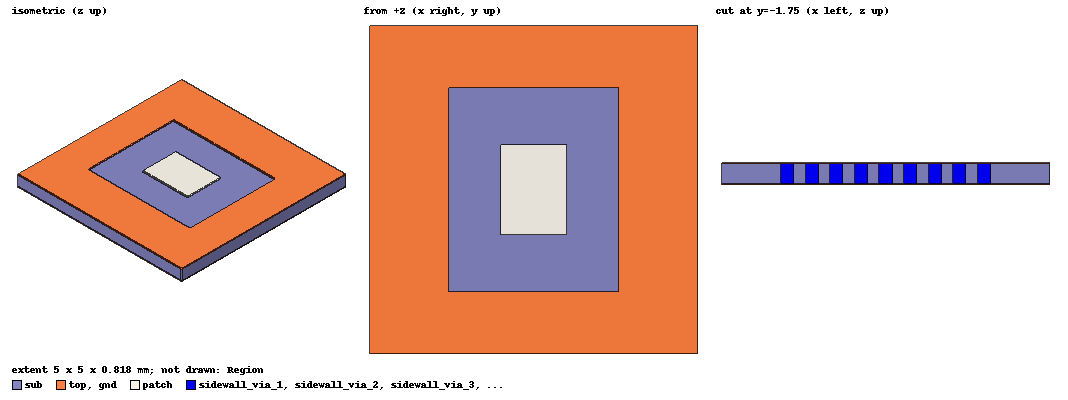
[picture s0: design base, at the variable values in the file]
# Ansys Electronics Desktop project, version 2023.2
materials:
  vacuum: permittivity=1
  Rogers RO4350 (tm): permittivity=3.66 dielectric_loss_tangent=0.004
  pec: conductivity=1e+30
  air: permittivity=1.0006 permeability=1.0000004
  copper: permeability=0.999991 conductivity=58000000

design base (HFSS, HFSS Modal Network, model units mm)
options: Allow_Material_Override
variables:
  sub_x = 5mm
  sub_y = 5mm
  sub_h = 0.3mm
  patch_x = 1.01mm
  patch_y = 1.37mm
  probe_r = 0.1mm
  probe_p = 0.25mm
  feed_l = 0.5mm
  copper_t = 0.018mm
  mm = 5mm
  sidewall_x = 3mm
  sidewall_y = 3.5mm
  via_p = 0.2mm
  via_r = 0.1mm
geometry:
  sub [Rogers RO4350 (tm)] = box(corner=(-sub_x/2, -sub_y/2, 0mm), size=(sub_x, sub_y, sub_h))
  patch [pec] = box(corner=(-patch_x/2, -patch_y/2, sub_h), size=(patch_x, patch_y, copper_t))
  gnd [pec] = box(corner=(-sub_x/2, -sub_y/2, 0mm), size=(sub_x, sub_y, -copper_t))
  probe [pec] = cylinder(axis=Z, base_centre=(probe_p, 0mm, -feed_l), radius=probe_r, height=sub_h+feed_l)
  coax_inner [air] = cylinder(axis=Z, base_centre=(probe_p, 0mm, -feed_l), radius=probe_r* 2.3, height=feed_l)
  coax_outer [pec] = cylinder(axis=Z, base_centre=(probe_p, 0mm, -feed_l), radius=probe_r* 2.35, height=feed_l)
  coax_inner_1 = coax_inner.copy()
  gnd.subtract(coax_inner_1)
  Region [air] = region(absolute_offset=2.5mm on all sides)
  coax_inner_2 = coax_inner.copy()
  coax_outer.subtract(coax_inner_2)
  probe_1 = probe.copy()
  coax_inner.subtract(probe_1)
  top [pec] = box(corner=(-sub_x/2, -sub_y/2, sub_h), size=(sub_x, sub_y, copper_t))
  sidewall = polyline(z=0mm, xy: (-sidewall_x/2, -sidewall_y/2) (-sidewall_x/2, sidewall_y/2) (sidewall_x/2, sidewall_y/2) (sidewall_x/2, -sidewall_y/2) (-sidewall_x/2, -sidewall_y/2), closed)
  top_inner = box(corner=(-sidewall_x/2+via_p, -sidewall_y/2+via_p, sub_h), size=(sidewall_x-via_p*2, sidewall_y-via_p*2, copper_t))
  top.subtract(top_inner)
  sidewall_via_1 [copper] = cylinder(axis=Z, base_centre=(-sidewall_x/2, -sidewall_y/2, 0mm), radius=via_r, height=sub_h)
  sidewall_via_2 [copper] = cylinder(axis=Z, base_centre=((sidewall_x/2)+(0.875)*((-sidewall_x/2)-(sidewall_x/2)), (-sidewall_y/2)+(0.875)*((-sidewall_y/2)-(-sidewall_y/2)), 0mm), radius=via_r, height=sub_h)
  sidewall_via_3 [copper] = cylinder(axis=Z, base_centre=((sidewall_x/2)+(0.75)*((-sidewall_x/2)-(sidewall_x/2)), (-sidewall_y/2)+(0.75)*((-sidewall_y/2)-(-sidewall_y/2)), 0mm), radius=via_r, height=sub_h)
  sidewall_via_4 [copper] = cylinder(axis=Z, base_centre=((sidewall_x/2)+(0.625)*((-sidewall_x/2)-(sidewall_x/2)), (-sidewall_y/2)+(0.625)*((-sidewall_y/2)-(-sidewall_y/2)), 0mm), radius=via_r, height=sub_h)
  sidewall_via_5 [copper] = cylinder(axis=Z, base_centre=((sidewall_x/2)+(0.5)*((-sidewall_x/2)-(sidewall_x/2)), (-sidewall_y/2)+(0.5)*((-sidewall_y/2)-(-sidewall_y/2)), 0mm), radius=via_r, height=sub_h)
  sidewall_via_6 [copper] = cylinder(axis=Z, base_centre=((sidewall_x/2)+(0.375)*((-sidewall_x/2)-(sidewall_x/2)), (-sidewall_y/2)+(0.375)*((-sidewall_y/2)-(-sidewall_y/2)), 0mm), radius=via_r, height=sub_h)
  sidewall_via_7 [copper] = cylinder(axis=Z, base_centre=((sidewall_x/2)+(0.25)*((-sidewall_x/2)-(sidewall_x/2)), (-sidewall_y/2)+(0.25)*((-sidewall_y/2)-(-sidewall_y/2)), 0mm), radius=via_r, height=sub_h)
  sidewall_via_8 [copper] = cylinder(axis=Z, base_centre=((sidewall_x/2)+(0.125)*((-sidewall_x/2)-(sidewall_x/2)), (-sidewall_y/2)+(0.125)*((-sidewall_y/2)-(-sidewall_y/2)), 0mm), radius=via_r, height=sub_h)
  sidewall_via_9 [copper] = cylinder(axis=Z, base_centre=(sidewall_x/2, -sidewall_y/2, 0mm), radius=via_r, height=sub_h)
  sidewall_via_10 [copper] = cylinder(axis=Z, base_centre=((sidewall_x/2)+(0.88888888888888873)*((sidewall_x/2)-(sidewall_x/2)), (sidewall_y/2)+(0.88888888888888873)*((-sidewall_y/2)-(sidewall_y/2)), 0mm), radius=via_r, height=sub_h)
  sidewall_via_11 [copper] = cylinder(axis=Z, base_centre=((sidewall_x/2)+(0.77777777777777779)*((sidewall_x/2)-(sidewall_x/2)), (sidewall_y/2)+(0.77777777777777779)*((-sidewall_y/2)-(sidewall_y/2)), 0mm), radius=via_r, height=sub_h)
  sidewall_via_12 [copper] = cylinder(axis=Z, base_centre=((sidewall_x/2)+(0.66666666666666663)*((sidewall_x/2)-(sidewall_x/2)), (sidewall_y/2)+(0.66666666666666663)*((-sidewall_y/2)-(sidewall_y/2)), 0mm), radius=via_r, height=sub_h)
  sidewall_via_13 [copper] = cylinder(axis=Z, base_centre=((sidewall_x/2)+(0.55555555555555558)*((sidewall_x/2)-(sidewall_x/2)), (sidewall_y/2)+(0.55555555555555558)*((-sidewall_y/2)-(sidewall_y/2)), 0mm), radius=via_r, height=sub_h)
  sidewall_via_14 [copper] = cylinder(axis=Z, base_centre=((sidewall_x/2)+(0.44444444444444436)*((sidewall_x/2)-(sidewall_x/2)), (sidewall_y/2)+(0.44444444444444436)*((-sidewall_y/2)-(sidewall_y/2)), 0mm), radius=via_r, height=sub_h)
  sidewall_via_15 [copper] = cylinder(axis=Z, base_centre=((sidewall_x/2)+(0.33333333333333331)*((sidewall_x/2)-(sidewall_x/2)), (sidewall_y/2)+(0.33333333333333331)*((-sidewall_y/2)-(sidewall_y/2)), 0mm), radius=via_r, height=sub_h)
  sidewall_via_16 [copper] = cylinder(axis=Z, base_centre=((sidewall_x/2)+(0.22222222222222218)*((sidewall_x/2)-(sidewall_x/2)), (sidewall_y/2)+(0.22222222222222218)*((-sidewall_y/2)-(sidewall_y/2)), 0mm), radius=via_r, height=sub_h)
  sidewall_via_17 [copper] = cylinder(axis=Z, base_centre=((sidewall_x/2)+(0.11111111111111109)*((sidewall_x/2)-(sidewall_x/2)), (sidewall_y/2)+(0.11111111111111109)*((-sidewall_y/2)-(sidewall_y/2)), 0mm), radius=via_r, height=sub_h)
  sidewall_via_18 [copper] = cylinder(axis=Z, base_centre=(sidewall_x/2, sidewall_y/2, 0mm), radius=via_r, height=sub_h)
  sidewall_via_19 [copper] = cylinder(axis=Z, base_centre=((-sidewall_x/2)+(0.875)*((sidewall_x/2)-(-sidewall_x/2)), (sidewall_y/2)+(0.875)*((sidewall_y/2)-(sidewall_y/2)), 0mm), radius=via_r, height=sub_h)
  sidewall_via_20 [copper] = cylinder(axis=Z, base_centre=((-sidewall_x/2)+(0.75)*((sidewall_x/2)-(-sidewall_x/2)), (sidewall_y/2)+(0.75)*((sidewall_y/2)-(sidewall_y/2)), 0mm), radius=via_r, height=sub_h)
  sidewall_via_21 [copper] = cylinder(axis=Z, base_centre=((-sidewall_x/2)+(0.625)*((sidewall_x/2)-(-sidewall_x/2)), (sidewall_y/2)+(0.625)*((sidewall_y/2)-(sidewall_y/2)), 0mm), radius=via_r, height=sub_h)
  sidewall_via_22 [copper] = cylinder(axis=Z, base_centre=((-sidewall_x/2)+(0.5)*((sidewall_x/2)-(-sidewall_x/2)), (sidewall_y/2)+(0.5)*((sidewall_y/2)-(sidewall_y/2)), 0mm), radius=via_r, height=sub_h)
  sidewall_via_23 [copper] = cylinder(axis=Z, base_centre=((-sidewall_x/2)+(0.375)*((sidewall_x/2)-(-sidewall_x/2)), (sidewall_y/2)+(0.375)*((sidewall_y/2)-(sidewall_y/2)), 0mm), radius=via_r, height=sub_h)
  sidewall_via_24 [copper] = cylinder(axis=Z, base_centre=((-sidewall_x/2)+(0.25)*((sidewall_x/2)-(-sidewall_x/2)), (sidewall_y/2)+(0.25)*((sidewall_y/2)-(sidewall_y/2)), 0mm), radius=via_r, height=sub_h)
  sidewall_via_25 [copper] = cylinder(axis=Z, base_centre=((-sidewall_x/2)+(0.125)*((sidewall_x/2)-(-sidewall_x/2)), (sidewall_y/2)+(0.125)*((sidewall_y/2)-(sidewall_y/2)), 0mm), radius=via_r, height=sub_h)
  sidewall_via_26 [copper] = cylinder(axis=Z, base_centre=(-sidewall_x/2, sidewall_y/2, 0mm), radius=via_r, height=sub_h)
  sidewall_via_27 [copper] = cylinder(axis=Z, base_centre=((-sidewall_x/2)+(0.88888888888888873)*((-sidewall_x/2)-(-sidewall_x/2)), (-sidewall_y/2)+(0.88888888888888873)*((sidewall_y/2)-(-sidewall_y/2)), 0mm), radius=via_r, height=sub_h)
  sidewall_via_28 [copper] = cylinder(axis=Z, base_centre=((-sidewall_x/2)+(0.77777777777777779)*((-sidewall_x/2)-(-sidewall_x/2)), (-sidewall_y/2)+(0.77777777777777779)*((sidewall_y/2)-(-sidewall_y/2)), 0mm), radius=via_r, height=sub_h)
  sidewall_via_29 [copper] = cylinder(axis=Z, base_centre=((-sidewall_x/2)+(0.66666666666666663)*((-sidewall_x/2)-(-sidewall_x/2)), (-sidewall_y/2)+(0.66666666666666663)*((sidewall_y/2)-(-sidewall_y/2)), 0mm), radius=via_r, height=sub_h)
  sidewall_via_30 [copper] = cylinder(axis=Z, base_centre=((-sidewall_x/2)+(0.55555555555555558)*((-sidewall_x/2)-(-sidewall_x/2)), (-sidewall_y/2)+(0.55555555555555558)*((sidewall_y/2)-(-sidewall_y/2)), 0mm), radius=via_r, height=sub_h)
  sidewall_via_31 [copper] = cylinder(axis=Z, base_centre=((-sidewall_x/2)+(0.44444444444444436)*((-sidewall_x/2)-(-sidewall_x/2)), (-sidewall_y/2)+(0.44444444444444436)*((sidewall_y/2)-(-sidewall_y/2)), 0mm), radius=via_r, height=sub_h)
  sidewall_via_32 [copper] = cylinder(axis=Z, base_centre=((-sidewall_x/2)+(0.33333333333333331)*((-sidewall_x/2)-(-sidewall_x/2)), (-sidewall_y/2)+(0.33333333333333331)*((sidewall_y/2)-(-sidewall_y/2)), 0mm), radius=via_r, height=sub_h)
  sidewall_via_33 [copper] = cylinder(axis=Z, base_centre=((-sidewall_x/2)+(0.22222222222222218)*((-sidewall_x/2)-(-sidewall_x/2)), (-sidewall_y/2)+(0.22222222222222218)*((sidewall_y/2)-(-sidewall_y/2)), 0mm), radius=via_r, height=sub_h)
  sidewall_via_34 [copper] = cylinder(axis=Z, base_centre=((-sidewall_x/2)+(0.11111111111111109)*((-sidewall_x/2)-(-sidewall_x/2)), (-sidewall_y/2)+(0.11111111111111109)*((sidewall_y/2)-(-sidewall_y/2)), 0mm), radius=via_r, height=sub_h)
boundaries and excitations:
  Rad__OPU4IR: Radiation Objects=Region
  1: Lumped Port Faces=coax_inner.face(-z end) LumpedPortType=Modal Modes{Mode1{IntLine{(0.25, 0.1, -0.5) -> (0.25, 0.23, -0.5)} CharImp=Zpi RenormImp=50ohm}} Impedance=50ohm
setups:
  Setup1: HfssDriven Frequency=60GHz MaxDeltaS=0.02 MaximumPasses=10 MinimumPasses=1 MinimumConvergedPasses=1 PercentRefinement=30 BasisOrder=1 PortAccuracy=2 DrivenSolverType="Direct Solver"
    sweep Sweep: 55GHz to 65GHz, 41 points; Type=Fast
    sweep Sweep1: point 63GHz; SaveSingleField Type=Discrete SaveFields
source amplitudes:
  1:1: 1W 0deg
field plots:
  Vector_E1: E Field over patch.face(-z) on Setup1 : Sweep1 at Freq=63GHz Phase=0deg
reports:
  S Parameter: dB(S(1,1)) vs Freq on Setup1 : Sweep [sub_x=all sub_y=all sub_h=all patch_x=all patch_y=all probe_r=all probe_p=all feed_l=all copper_t=all]; markers m1 at 64.5GHz
